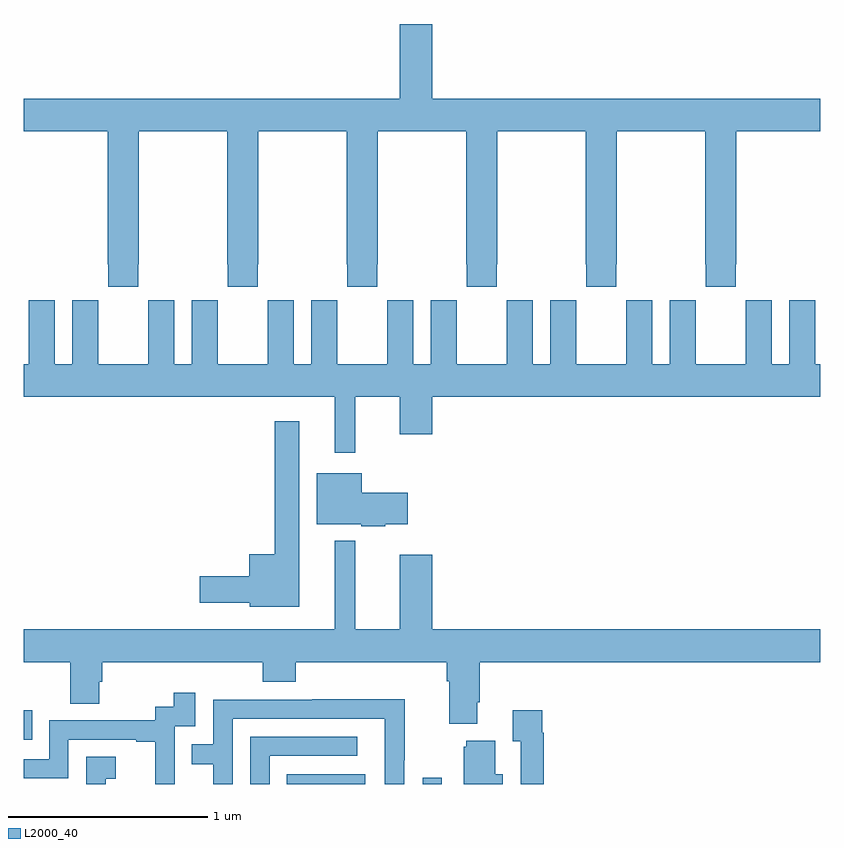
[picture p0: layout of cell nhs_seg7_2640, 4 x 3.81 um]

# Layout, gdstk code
import gdstk
lib = gdstk.Library(unit=1e-6, precision=1e-09)
def R(c, l, rs):  # rectangles x0, y0, x1, y1
    for r in rs: c.add(gdstk.rectangle(r[:2], r[2:], *l))
def P(c, l, *ps):  # polygons
    for p in ps: c.add(gdstk.Polygon(p, *l))
L2000_40 = (2000, 40)

nhs_seg7_2640 = lib.new_cell('nhs_seg7_2640')
R(nhs_seg7_2640, L2000_40, [(284.32,1004,284.716,1004.05), (285.003,1004,285.099,1004.032), (283,1004.223,283.043,1004.371)])
P(nhs_seg7_2640, L2000_40, [(283.575,1006.609),(283.578,1006.609),(283.578,1007.276),(284.023,1007.276),(284.023,1006.609),(284.025,1006.609),(284.025,1006.497),(284.175,1006.497),(284.175,1006.609),(284.178,1006.609),(284.178,1007.276),(284.623,1007.276),(284.623,1006.609),(284.625,1006.609),(284.625,1006.497),(284.775,1006.497),(284.775,1006.609),(284.778,1006.609),(284.778,1007.276),(285.223,1007.276),(285.223,1006.609),(285.225,1006.609),(285.225,1006.497),(285.375,1006.497),(285.375,1006.609),(285.378,1006.609),(285.378,1007.276),(285.823,1007.276),(285.823,1006.609),(285.825,1006.609),(285.825,1006.497),(285.975,1006.497),(285.975,1006.609),(285.978,1006.609),(285.978,1007.276),(286.423,1007.276),(286.423,1006.609),(286.425,1006.609),(286.425,1006.497),(286.575,1006.497),(286.575,1006.609),(286.578,1006.609),(286.578,1007.276),(287,1007.276),(287,1007.44),(285.052,1007.44),(285.052,1007.815),(284.888,1007.815),(284.888,1007.44),(283,1007.44),(283,1007.276),(283.423,1007.276),(283.423,1006.609),(283.425,1006.609),(283.425,1006.497),(283.575,1006.497)],
  [(284.665,1005.944),(284.888,1005.944),(284.888,1005.756),(285.052,1005.756),(285.052,1005.944),(287,1005.944),(287,1006.108),(286.975,1006.108),(286.975,1006.316),(286.974,1006.316),(286.974,1006.429),(286.844,1006.429),(286.844,1006.108),(286.756,1006.108),(286.756,1006.429),(286.626,1006.429),(286.626,1006.316),(286.625,1006.316),(286.625,1006.108),(286.375,1006.108),(286.375,1006.316),(286.374,1006.316),(286.374,1006.429),(286.244,1006.429),(286.244,1006.108),(286.156,1006.108),(286.156,1006.429),(286.026,1006.429),(286.026,1006.316),(286.025,1006.316),(286.025,1006.108),(285.775,1006.108),(285.775,1006.316),(285.774,1006.316),(285.774,1006.429),(285.644,1006.429),(285.644,1006.108),(285.556,1006.108),(285.556,1006.429),(285.426,1006.429),(285.426,1006.316),(285.425,1006.316),(285.425,1006.108),(285.175,1006.108),(285.175,1006.316),(285.174,1006.316),(285.174,1006.429),(285.044,1006.429),(285.044,1006.108),(284.956,1006.108),(284.956,1006.429),(284.826,1006.429),(284.826,1006.316),(284.825,1006.316),(284.825,1006.108),(284.575,1006.108),(284.575,1006.316),(284.574,1006.316),(284.574,1006.429),(284.444,1006.429),(284.444,1006.108),(284.356,1006.108),(284.356,1006.429),(284.226,1006.429),(284.226,1006.316),(284.225,1006.316),(284.225,1006.108),(283.975,1006.108),(283.975,1006.316),(283.974,1006.316),(283.974,1006.429),(283.844,1006.429),(283.844,1006.108),(283.756,1006.108),(283.756,1006.429),(283.626,1006.429),(283.626,1006.316),(283.625,1006.316),(283.625,1006.108),(283.375,1006.108),(283.375,1006.316),(283.374,1006.316),(283.374,1006.429),(283.244,1006.429),(283.244,1006.108),(283.156,1006.108),(283.156,1006.429),(283.026,1006.429),(283.026,1006.316),(283.025,1006.316),(283.025,1006.108),(283,1006.108),(283,1005.944),(284.561,1005.944),(284.561,1005.663),(284.665,1005.663)],
  [(284.383,1005.82),(284.262,1005.82),(284.262,1005.154),(284.132,1005.154),(284.132,1005.044),(283.884,1005.044),(283.884,1004.909),(284.136,1004.909),(284.136,1004.891),(284.383,1004.891)],
  [(284.816,1005.305),(284.929,1005.305),(284.929,1005.463),(284.698,1005.463),(284.698,1005.559),(284.471,1005.559),(284.471,1005.305),(284.694,1005.305),(284.694,1005.295),(284.816,1005.295)],
  [(285.277,1004.41),(285.29,1004.41),(285.29,1004.612),(287,1004.612),(287,1004.776),(285.052,1004.776),(285.052,1005.151),(284.888,1005.151),(284.888,1004.776),(284.665,1004.776),(284.665,1005.113),(284.664,1005.113),(284.664,1005.22),(284.561,1005.22),(284.561,1004.776),(283,1004.776),(283,1004.612),(283.234,1004.612),(283.234,1004.404),(283.381,1004.404),(283.381,1004.514),(283.394,1004.514),(283.394,1004.612),(284.201,1004.612),(284.201,1004.513),(284.366,1004.513),(284.366,1004.612),(285.125,1004.612),(285.125,1004.516),(285.137,1004.516),(285.137,1004.303),(285.277,1004.303)],
  [(283.76,1004.06),(283.758,1004.06),(283.758,1004.289),(283.863,1004.289),(283.863,1004.458),(283.755,1004.458),(283.755,1004.388),(283.662,1004.388),(283.662,1004.319),(283.128,1004.319),(283.128,1004.124),(283,1004.124),(283,1004.028),(283.224,1004.028),(283.224,1004.223),(283.565,1004.223),(283.565,1004.211),(283.661,1004.211),(283.661,1004),(283.76,1004)],
  [(284.049,1004.328),(284.813,1004.328),(284.813,1004.086),(284.814,1004.086),(284.814,1004),(284.91,1004),(284.91,1004.119),(284.913,1004.119),(284.913,1004.426),(284.449,1004.426),(284.449,1004.424),(283.953,1004.424),(283.953,1004.199),(283.843,1004.199),(283.843,1004.098),(283.953,1004.098),(283.953,1004),(284.049,1004)],
  [(285.611,1004.258),(285.604,1004.258),(285.604,1004.371),(285.455,1004.371),(285.455,1004.215),(285.495,1004.215),(285.495,1004),(285.611,1004)],
  [(284.235,1004.142),(284.674,1004.142),(284.674,1004.238),(284.139,1004.238),(284.139,1004),(284.235,1004)],
  [(285.406,1004.05),(285.367,1004.05),(285.367,1004.218),(285.221,1004.218),(285.221,1004.187),(285.209,1004.187),(285.209,1004),(285.406,1004)],
  [(283.413,1004.027),(283.462,1004.027),(283.462,1004.137),(283.314,1004.137),(283.314,1004),(283.413,1004)])

lib.write_gds('nhs_seg7_2640.gds')
